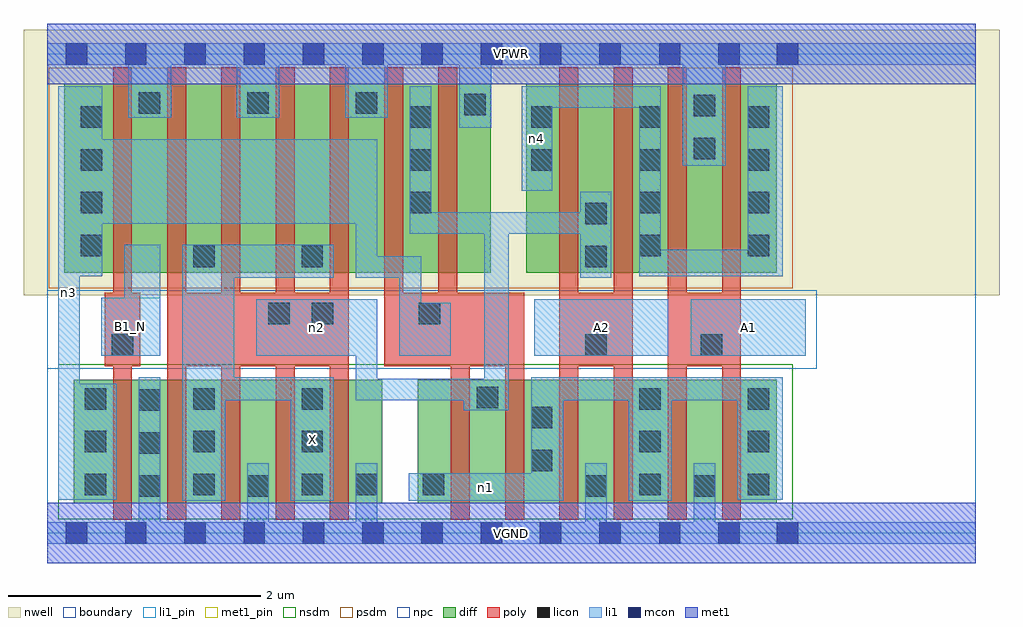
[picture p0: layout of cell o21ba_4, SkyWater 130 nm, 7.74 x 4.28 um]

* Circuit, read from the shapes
.subckt o21ba_4 A1 A2 B1_N VGND VPWR X n1 n2 n3 n4
XM1 VGND B1_N n3 VSUBS sky130_fd_pr__nfet_01v8 w=0.98 l=0.15
XM2 X n2 VGND VSUBS sky130_fd_pr__nfet_01v8 w=0.98 l=0.15 m=4
XM3 n2 n3 n1 VSUBS sky130_fd_pr__nfet_01v8 w=0.98 l=0.15 m=2
XM4 VGND A2 n1 VSUBS sky130_fd_pr__nfet_01v8 w=0.98 l=0.15 m=2
XM5 VGND A1 n1 VSUBS sky130_fd_pr__nfet_01v8 w=0.98 l=0.15 m=2
XM6 VPWR B1_N n3 n5 sky130_fd_pr__pfet_01v8 w=1.5 l=0.15
XM7 X n2 VPWR n5 sky130_fd_pr__pfet_01v8 w=1.5 l=0.15 m=4
XM8 n2 n3 VPWR n5 sky130_fd_pr__pfet_01v8 w=1.5 l=0.15 m=2
XM9 n2 A2 n4 n5 sky130_fd_pr__pfet_01v8 w=1.5 l=0.15 m=2
XM10 VPWR A1 n4 n5 sky130_fd_pr__pfet_01v8 w=1.5 l=0.15 m=2
.ends

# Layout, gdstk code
import gdstk
lib = gdstk.Library(unit=1e-6, precision=1e-09)
def R(c, l, rs):  # rectangles x0, y0, x1, y1
    for r in rs: c.add(gdstk.rectangle(r[:2], r[2:], *l))
def A(c, l, x, y, w, h, nx, ny, dx, dy):  # array of equal rectangles
    R(c, l, [(x+i*dx, y+j*dy, x+i*dx+w, y+j*dy+h) for i in range(nx) for j in range(ny)])
nwell = (64, 20)
diff = (65, 20)
poly = (66, 20)
licon = (66, 44)
li1_pin = (67, 16)
li1 = (67, 20)
mcon = (67, 44)
met1_pin = (68, 16)
met1 = (68, 20)
nsdm = (93, 44)
psdm = (94, 20)
npc = (95, 20)
boundary = (235, 4)

o21ba_4 = lib.new_cell('o21ba_4')
R(o21ba_4, nwell, [(-0.19,1.885,7.55,3.99), (0,1.885,7.36,3.99)])
R(o21ba_4, diff, [(0.21,0.235,2.655,1.215), (2.935,0.235,5.785,1.215), (0.135,2.065,3.515,3.565), (3.795,2.065,5.785,3.565)])
A(o21ba_4, poly, 0.52, 0.105, 0.15, 3.59, 5, 1, 0.43, 0)
A(o21ba_4, poly, 4.06, 0.105, 0.15, 3.59, 4, 1, 0.43, 0)
R(o21ba_4, poly, [(3.2,0.105,3.35,1.905), (3.63,0.105,3.78,1.905), (0.455,1.325,0.735,1.905), (0.95,1.325,2.39,1.905), (2.67,1.325,3.78,1.905), (2.67,1.325,2.82,3.695), (3.1,1.325,3.25,3.695), (4.06,1.325,4.64,1.905), (4.92,1.325,5.5,1.905)])
A(o21ba_4, licon, 0.725, 0.29, 0.17, 0.17, 1, 3, 0, 0.34)
A(o21ba_4, licon, 0.295, 0.3, 0.17, 0.17, 3, 3, 0.86, 0.34)
A(o21ba_4, licon, 4.695, 0.3, 0.17, 0.17, 1, 3, 0, 0.34)
A(o21ba_4, licon, 5.555, 0.3, 0.17, 0.17, 1, 3, 0, 0.34)
A(o21ba_4, licon, 0.265, 2.195, 0.17, 0.17, 1, 4, 0, 0.34)
A(o21ba_4, licon, 2.875, 2.535, 0.17, 0.17, 1, 3, 0, 0.34)
A(o21ba_4, licon, 3.835, 2.875, 0.17, 0.17, 3, 2, 0.86, 0.34)
A(o21ba_4, licon, 0.725, 3.325, 0.17, 0.17, 3, 1, 0.86, 0)
R(o21ba_4, licon, [(1.585,0.29,1.755,0.46), (4.265,0.29,4.435,0.46), (5.125,0.29,5.295,0.46), (2.445,0.3,2.615,0.47), (2.975,0.3,3.145,0.47), (3.835,0.49,4.005,0.66), (3.835,0.83,4.005,1), (3.405,0.99,3.575,1.16), (0.51,1.405,0.68,1.575), (4.265,1.405,4.435,1.575), (5.18,1.405,5.35,1.575), (1.75,1.655,1.92,1.825), (2.095,1.655,2.265,1.825), (2.945,1.655,3.115,1.825), (1.155,2.11,1.325,2.28), (2.015,2.11,2.185,2.28), (4.265,2.11,4.435,2.28), (4.695,2.195,4.865,2.365), (5.555,2.195,5.725,2.365), (4.265,2.45,4.435,2.62), (4.695,2.535,4.865,2.705), (5.555,2.535,5.725,2.705), (5.125,2.965,5.295,3.135), (5.125,3.305,5.295,3.475), (3.305,3.315,3.475,3.485)])
R(o21ba_4, li1_pin, [(1.93,0.255,2.27,1.235), (0.425,1.405,0.895,1.865), (3.86,1.405,4.925,1.855), (5.1,1.405,6.015,1.855)])
A(o21ba_4, li1, 0.64, 3.295, 0.34, 0.59, 3, 1, 0.86, 0)
R(o21ba_4, li1, [(0,-0.085,7.36,0.085), (0.725,-0.085,0.895,1.235), (1.585,-0.085,1.755,0.555), (2.445,-0.085,2.615,0.555), (4.265,-0.085,4.435,0.555), (5.125,-0.085,5.295,0.555), (1.07,0.255,1.41,2.285), (1.93,0.255,2.27,1.235), (2.865,0.255,4.09,0.475), (3.835,0.255,4.09,1.235), (4.61,0.255,4.95,1.235), (0.085,0.265,0.255,3.545), (0.085,0.265,0.55,1.185), (5.47,0.265,5.83,1.235), (3.3,0.975,3.66,1.225), (3.465,0.975,3.66,2.545), (1.07,1.055,2.27,1.235), (1.07,1.055,1.48,2.285), (2.445,1.055,3.66,1.225), (2.445,1.055,2.615,1.855), (3.835,1.055,5.83,1.235), (0.425,1.405,0.895,1.865), (0.61,1.405,0.895,2.285), (1.655,1.405,2.615,1.855), (2.79,1.405,2.965,2.195), (2.79,1.405,3.2,1.825), (3.86,1.405,4.925,1.855), (5.1,1.405,6.015,1.855), (1.07,2.025,2.27,2.285), (2.445,2.025,2.615,3.125), (2.445,2.025,2.965,2.195), (4.225,2.025,4.47,2.705), (0.085,2.035,0.435,3.545), (4.695,2.035,5.83,2.245), (4.695,2.035,4.865,3.545), (5.555,2.035,5.83,3.545), (2.875,2.375,4.47,2.545), (2.875,2.375,3.045,3.545), (0.085,2.455,2.615,3.125), (3.76,2.715,4.005,3.545), (5.04,2.915,5.38,3.885), (3.265,3.215,3.52,3.885), (3.76,3.375,4.865,3.545), (0,3.715,7.36,3.885)])
A(o21ba_4, mcon, 0.145, -0.085, 0.17, 0.17, 10, 2, 0.47, 3.8)
R(o21ba_4, mcon, [(4.85,-0.085,5.02,0.085), (5.32,-0.085,5.49,0.085), (5.785,-0.085,5.955,0.085), (4.85,3.715,5.02,3.885), (5.32,3.715,5.49,3.885), (5.785,3.715,5.955,3.885)])
R(o21ba_4, met1_pin, [(0,-0.24,7.36,0.24), (0,3.56,7.36,4.04)])
R(o21ba_4, met1, [(0,-0.24,7.36,0.24), (0,3.56,7.36,4.04)])
R(o21ba_4, nsdm, [(0.085,0.11,5.91,1.34)])
R(o21ba_4, psdm, [(0.01,1.94,5.91,3.69)])
R(o21ba_4, npc, [(0,1.305,6.1,1.925)])
R(o21ba_4, boundary, [(0,0,7.36,3.8)])
o21ba_4.add(gdstk.Label('A1', (5.557,1.63), layer=67, texttype=5))
o21ba_4.add(gdstk.Label('A2', (4.392,1.63), layer=67, texttype=5))
o21ba_4.add(gdstk.Label('B1_N', (0.66,1.635), layer=67, texttype=5))
o21ba_4.add(gdstk.Label('X', (2.1,0.745), layer=67, texttype=5))
o21ba_4.add(gdstk.Label('n1', (3.477,0.365), layer=67, texttype=5))
o21ba_4.add(gdstk.Label('n3', (0.17,1.905), layer=67, texttype=5))
o21ba_4.add(gdstk.Label('n2', (2.135,1.63), layer=67, texttype=5))
o21ba_4.add(gdstk.Label('n4', (3.882,3.13), layer=67, texttype=5))
o21ba_4.add(gdstk.Label('VPWR', (3.68,3.8), layer=68, texttype=5))
o21ba_4.add(gdstk.Label('VGND', (3.68,0), layer=68, texttype=5))
o21ba_4.add(gdstk.Label('A1', (5.557,1.63), layer=67, texttype=16))
o21ba_4.add(gdstk.Label('A2', (4.392,1.63), layer=67, texttype=16))
o21ba_4.add(gdstk.Label('B1_N', (0.66,1.635), layer=67, texttype=16))
o21ba_4.add(gdstk.Label('X', (2.1,0.745), layer=67, texttype=16))
o21ba_4.add(gdstk.Label('VPWR', (3.68,3.8), layer=68, texttype=16))
o21ba_4.add(gdstk.Label('VGND', (3.68,0), layer=68, texttype=16))

lib.write_gds('o21ba_4.gds')
